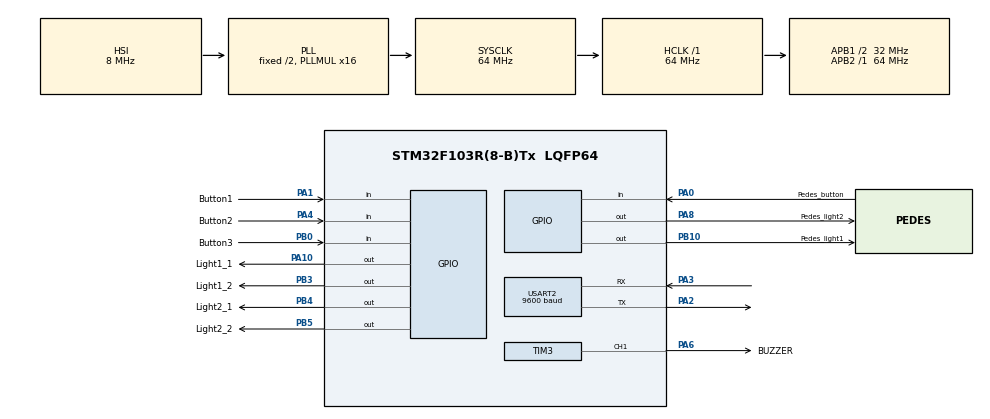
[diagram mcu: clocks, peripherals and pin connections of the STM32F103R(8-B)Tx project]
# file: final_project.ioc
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Mcu.Family=STM32F1
Mcu.Name=STM32F103R(8-B)Tx
Mcu.Package=LQFP64
NVIC.PriorityGroup=NVIC_PRIORITYGROUP_4
NVIC.TIM2_IRQn=true\:0\:0\:false\:false\:true\:true\:true\:true
PA0-WKUP.GPIO_Label=Pedes_button
PA0-WKUP.GPIO_PuPd=GPIO_PULLUP
PA0-WKUP.Signal=GPIO_Input
PA1.GPIO_Label=Button1
PA1.GPIO_PuPd=GPIO_PULLUP
PA1.Signal=GPIO_Input
PA10.GPIO_Label=Light1_1
PA10.Signal=GPIO_Output
PA13.Mode=Serial_Wire
PA13.Signal=SYS_JTMS-SWDIO
PA14.Mode=Serial_Wire
PA14.Signal=SYS_JTCK-SWCLK
PA2.Mode=Asynchronous
PA2.Signal=USART2_TX
PA3.Mode=Asynchronous
PA3.Signal=USART2_RX
PA4.GPIO_Label=Button2
PA4.GPIO_PuPd=GPIO_PULLUP
PA4.Signal=GPIO_Input
PA6.GPIO_Label=BUZZER
PA6.Signal=S_TIM3_CH1
PA8.GPIO_Label=Pedes_light2
PA8.Signal=GPIO_Output
PB0.GPIO_Label=Button3
PB0.GPIO_PuPd=GPIO_PULLUP
PB0.Signal=GPIO_Input
PB10.GPIO_Label=Pedes_light1
PB10.Signal=GPIO_Output
PB3.GPIO_Label=Light1_2
PB3.Signal=GPIO_Output
PB4.GPIO_Label=Light2_1
PB4.Signal=GPIO_Output
PB5.GPIO_Label=Light2_2
PB5.Signal=GPIO_Output
PD0-OSC_IN.Mode=HSE-External-Oscillator
PD0-OSC_IN.Signal=RCC_OSC_IN
PD1-OSC_OUT.Mode=HSE-External-Oscillator
PD1-OSC_OUT.Signal=RCC_OSC_OUT
ProjectManager.HeapSize=0x200
ProjectManager.StackSize=0x400
ProjectManager.TargetToolchain=STM32CubeIDE
RCC.AHBFreq_Value=64000000
RCC.APB1CLKDivider=RCC_HCLK_DIV2
RCC.APB1Freq_Value=32000000
RCC.APB1TimFreq_Value=64000000
RCC.APB2Freq_Value=64000000
RCC.APB2TimFreq_Value=64000000
RCC.HCLKFreq_Value=64000000
RCC.PLLMUL=RCC_PLL_MUL16
RCC.SYSCLKFreq_VALUE=64000000
RCC.SYSCLKSource=RCC_SYSCLKSOURCE_PLLCLK
RCC.USBFreq_Value=64000000
SH.S_TIM3_CH1.0=TIM3_CH1,PWM Generation1 CH1
TIM2.Period=9999
TIM2.Prescaler=63
TIM3.Channel-PWM\ Generation1\ CH1=TIM_CHANNEL_1
TIM3.Period=999
TIM3.Prescaler=63
USART2.BaudRate=9600
USART2.VirtualMode=VM_ASYNC
VP_TIM2_VS_ClockSourceINT.Mode=Internal
board=custom

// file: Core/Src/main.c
/* USER CODE BEGIN Header */
/**
  ******************************************************************************
  * @file           : main.c
  * @brief          : Main program body
  ******************************************************************************
  * @attention
  *
  * <h2><center>&copy; Copyright (c) 2022 STMicroelectronics.
  * All rights reserved.</center></h2>
  *
  * This software component is licensed by ST under BSD 3-Clause license,
  * the "License"; You may not use this file except in compliance with the
  * License. You may obtain a copy of the License at:
  *                        opensource.org/licenses/BSD-3-Clause
  *
  ******************************************************************************
  */
/* USER CODE END Header */
#include "main.h"

/* USER CODE BEGIN Includes */
#include "global.h"
#include "hardware_layer.h"
#include "software_timer.h"
#include "stdio.h"
#include "stdint.h"
#include "input_reading.h"
#include "auto_fsm.h"
#include "setting_fsm.h"
#include "pedes_fsm.h"
#include "manual_fsm.h"
/* USER CODE END Includes */

TIM_HandleTypeDef htim2;
TIM_HandleTypeDef htim3;

UART_HandleTypeDef huart2;

void SystemClock_Config(void);
static void MX_GPIO_Init(void);
static void MX_TIM2_Init(void);
static void MX_TIM3_Init(void);
static void MX_USART2_UART_Init(void);

/* USER CODE BEGIN 0 */
void HAL_TIM_PeriodElapsedCallback ( TIM_HandleTypeDef * htim ){
	timer1_run();
	timer2_run();
	timer3_run();
	input_reading();
}
void test_IO(){
	if (is_button_pressed(STATE_IDX)==1) set_color_light1(XANH);
	if (is_button_pressed(SETTING_IDX)==1) set_color_light2(DO);
	if (is_button_pressed(MANUAL_IDX)==1) set_color_pedestrian_light(VANG);
	if (is_button_pressed(PEDES_IDX)==1) {
		__HAL_TIM_SetCompare (&htim3,TIM_CHANNEL_1,10);
		  HAL_Delay(1000);
		  __HAL_TIM_SetCompare (&htim3,TIM_CHANNEL_1,100);
		  HAL_Delay(1000);
		  __HAL_TIM_SetCompare (&htim3,TIM_CHANNEL_1,0);
	}
}
/* USER CODE END 0 */

int main(void)
{

  /* MCU Configuration--------------------------------------------------------*/

  /* Reset of all peripherals, Initializes the Flash interface and the Systick. */
  HAL_Init();

  /* Configure the system clock */
  SystemClock_Config();

  /* Initialize all configured peripherals */
  MX_GPIO_Init();
  MX_TIM2_Init();
  MX_TIM3_Init();
  MX_USART2_UART_Init();
  /* USER CODE BEGIN 2 */
  HAL_TIM_PWM_Start(&htim3, TIM_CHANNEL_1);
  HAL_TIM_Base_Start_IT(&htim2);
  /* USER CODE END 2 */

  /* Infinite loop */
  /* USER CODE BEGIN WHILE */
  setTimer1(1000);
  red_duration=5;
  green_duration=3;
  yellow_duration=2;
  counter1=5;
  state=INIT;
  manual_state=1;
  pedes_state=10;
  setTimer3(500);
  while (1)
  {
	  pedestrian_fsm();
	  auto_fsm();
	  setting_fsm();
	  manual_fsm();

//	  test_IO();
    /* USER CODE END WHILE */

  }
}

void SystemClock_Config(void)
{
  RCC_OscInitTypeDef RCC_OscInitStruct = {0};
  RCC_ClkInitTypeDef RCC_ClkInitStruct = {0};

  /** Initializes the RCC Oscillators according to the specified parameters
  * in the RCC_OscInitTypeDef structure.
  */
  RCC_OscInitStruct.OscillatorType = RCC_OSCILLATORTYPE_HSI;
  RCC_OscInitStruct.HSIState = RCC_HSI_ON;
  RCC_OscInitStruct.HSICalibrationValue = RCC_HSICALIBRATION_DEFAULT;
  RCC_OscInitStruct.PLL.PLLState = RCC_PLL_ON;
  RCC_OscInitStruct.PLL.PLLSource = RCC_PLLSOURCE_HSI_DIV2;
  RCC_OscInitStruct.PLL.PLLMUL = RCC_PLL_MUL16;
  if (HAL_RCC_OscConfig(&RCC_OscInitStruct) != HAL_OK)
  {
    Error_Handler();
  }
  /** Initializes the CPU, AHB and APB buses clocks
  */
  RCC_ClkInitStruct.ClockType = RCC_CLOCKTYPE_HCLK|RCC_CLOCKTYPE_SYSCLK
                              |RCC_CLOCKTYPE_PCLK1|RCC_CLOCKTYPE_PCLK2;
  RCC_ClkInitStruct.SYSCLKSource = RCC_SYSCLKSOURCE_PLLCLK;
  RCC_ClkInitStruct.AHBCLKDivider = RCC_SYSCLK_DIV1;
  RCC_ClkInitStruct.APB1CLKDivider = RCC_HCLK_DIV2;
  RCC_ClkInitStruct.APB2CLKDivider = RCC_HCLK_DIV1;

  if (HAL_RCC_ClockConfig(&RCC_ClkInitStruct, FLASH_LATENCY_2) != HAL_OK)
  {
    Error_Handler();
  }
}

static void MX_TIM2_Init(void)
{

  TIM_ClockConfigTypeDef sClockSourceConfig = {0};
  TIM_MasterConfigTypeDef sMasterConfig = {0};

  htim2.Instance = TIM2;
  htim2.Init.Prescaler = 63;
  htim2.Init.CounterMode = TIM_COUNTERMODE_UP;
  htim2.Init.Period = 9999;
  htim2.Init.ClockDivision = TIM_CLOCKDIVISION_DIV1;
  htim2.Init.AutoReloadPreload = TIM_AUTORELOAD_PRELOAD_DISABLE;
  if (HAL_TIM_Base_Init(&htim2) != HAL_OK)
  {
    Error_Handler();
  }
  sClockSourceConfig.ClockSource = TIM_CLOCKSOURCE_INTERNAL;
  if (HAL_TIM_ConfigClockSource(&htim2, &sClockSourceConfig) != HAL_OK)
  {
    Error_Handler();
  }
  sMasterConfig.MasterOutputTrigger = TIM_TRGO_RESET;
  sMasterConfig.MasterSlaveMode = TIM_MASTERSLAVEMODE_DISABLE;
  if (HAL_TIMEx_MasterConfigSynchronization(&htim2, &sMasterConfig) != HAL_OK)
  {
    Error_Handler();
  }

}

static void MX_TIM3_Init(void)
{

  TIM_MasterConfigTypeDef sMasterConfig = {0};
  TIM_OC_InitTypeDef sConfigOC = {0};

  htim3.Instance = TIM3;
  htim3.Init.Prescaler = 63;
  htim3.Init.CounterMode = TIM_COUNTERMODE_UP;
  htim3.Init.Period = 999;
  htim3.Init.ClockDivision = TIM_CLOCKDIVISION_DIV1;
  htim3.Init.AutoReloadPreload = TIM_AUTORELOAD_PRELOAD_DISABLE;
  if (HAL_TIM_PWM_Init(&htim3) != HAL_OK)
  {
    Error_Handler();
  }
  sMasterConfig.MasterOutputTrigger = TIM_TRGO_RESET;
  sMasterConfig.MasterSlaveMode = TIM_MASTERSLAVEMODE_DISABLE;
  if (HAL_TIMEx_MasterConfigSynchronization(&htim3, &sMasterConfig) != HAL_OK)
  {
    Error_Handler();
  }
  sConfigOC.OCMode = TIM_OCMODE_PWM1;
  sConfigOC.Pulse = 0;
  sConfigOC.OCPolarity = TIM_OCPOLARITY_HIGH;
  sConfigOC.OCFastMode = TIM_OCFAST_DISABLE;
  if (HAL_TIM_PWM_ConfigChannel(&htim3, &sConfigOC, TIM_CHANNEL_1) != HAL_OK)
  {
    Error_Handler();
  }
  HAL_TIM_MspPostInit(&htim3);

}

static void MX_USART2_UART_Init(void)
{

  huart2.Instance = USART2;
  huart2.Init.BaudRate = 9600;
  huart2.Init.WordLength = UART_WORDLENGTH_8B;
  huart2.Init.StopBits = UART_STOPBITS_1;
  huart2.Init.Parity = UART_PARITY_NONE;
  huart2.Init.Mode = UART_MODE_TX_RX;
  huart2.Init.HwFlowCtl = UART_HWCONTROL_NONE;
  huart2.Init.OverSampling = UART_OVERSAMPLING_16;
  if (HAL_UART_Init(&huart2) != HAL_OK)
  {
    Error_Handler();
  }

}

static void MX_GPIO_Init(void)
{
  GPIO_InitTypeDef GPIO_InitStruct = {0};

  /* GPIO Ports Clock Enable */
  __HAL_RCC_GPIOD_CLK_ENABLE();
  __HAL_RCC_GPIOA_CLK_ENABLE();
  __HAL_RCC_GPIOB_CLK_ENABLE();

  /*Configure GPIO pin Output Level */
  HAL_GPIO_WritePin(GPIOB, Pedes_light1_Pin|Light1_2_Pin|Light2_1_Pin|Light2_2_Pin, GPIO_PIN_RESET);

  /*Configure GPIO pin Output Level */
  HAL_GPIO_WritePin(GPIOA, Pedes_light2_Pin|Light1_1_Pin, GPIO_PIN_RESET);

  /*Configure GPIO pins : Pedes_button_Pin Button1_Pin Button2_Pin */
  GPIO_InitStruct.Pin = Pedes_button_Pin|Button1_Pin|Button2_Pin;
  GPIO_InitStruct.Mode = GPIO_MODE_INPUT;
  GPIO_InitStruct.Pull = GPIO_PULLUP;
  HAL_GPIO_Init(GPIOA, &GPIO_InitStruct);

  /*Configure GPIO pin : Button3_Pin */
  GPIO_InitStruct.Pin = Button3_Pin;
  GPIO_InitStruct.Mode = GPIO_MODE_INPUT;
  GPIO_InitStruct.Pull = GPIO_PULLUP;
  HAL_GPIO_Init(Button3_GPIO_Port, &GPIO_InitStruct);

  /*Configure GPIO pins : Pedes_light1_Pin Light1_2_Pin Light2_1_Pin Light2_2_Pin */
  GPIO_InitStruct.Pin = Pedes_light1_Pin|Light1_2_Pin|Light2_1_Pin|Light2_2_Pin;
  GPIO_InitStruct.Mode = GPIO_MODE_OUTPUT_PP;
  GPIO_InitStruct.Pull = GPIO_NOPULL;
  GPIO_InitStruct.Speed = GPIO_SPEED_FREQ_LOW;
  HAL_GPIO_Init(GPIOB, &GPIO_InitStruct);

  /*Configure GPIO pins : Pedes_light2_Pin Light1_1_Pin */
  GPIO_InitStruct.Pin = Pedes_light2_Pin|Light1_1_Pin;
  GPIO_InitStruct.Mode = GPIO_MODE_OUTPUT_PP;
  GPIO_InitStruct.Pull = GPIO_NOPULL;
  GPIO_InitStruct.Speed = GPIO_SPEED_FREQ_LOW;
  HAL_GPIO_Init(GPIOA, &GPIO_InitStruct);

}

void Error_Handler(void)
{
  __disable_irq();
  while (1)
  {
  }
}

/************************ (C) COPYRIGHT STMicroelectronics *****END OF FILE****/
